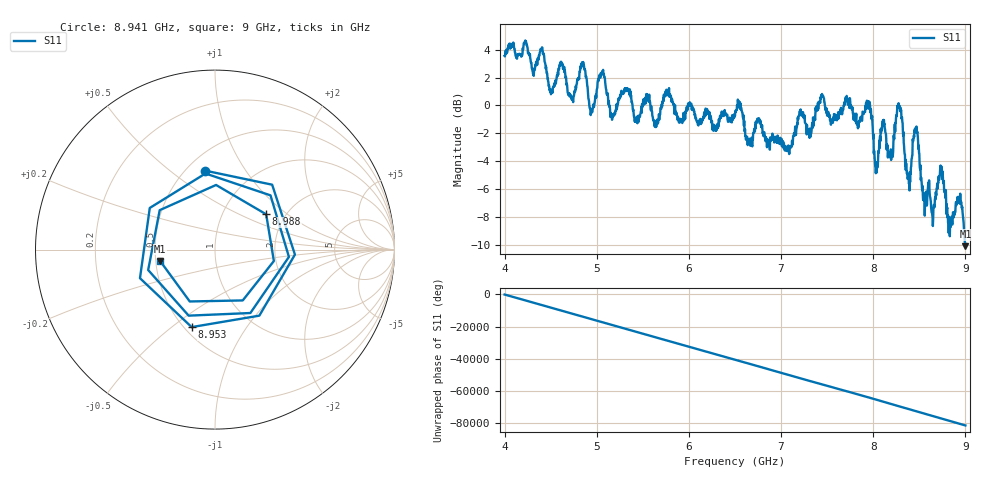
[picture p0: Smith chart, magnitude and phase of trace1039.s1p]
! Created with skrf 1.8.0 (http://scikit-rf.org).
# Hz S RI R 50.0
!freq ReS11 ImS11
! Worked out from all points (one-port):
!   1601 points, 4 GHz to 9 GHz, reference 50 ohm
!   lowest |S11| = -10.1 dB at 9 GHz (marker M1), VSWR 1.91, Z = 26.4 - j3.71 ohm
!   |S11| at or under -10 dB: 8.998683 GHz to end of sweep
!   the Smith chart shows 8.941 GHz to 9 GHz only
!   S11 on the Smith chart (normalised r, x): 8.941 GHz: 0.61, +0.67; 8.953 GHz: 0.54, -0.59; 8.988 GHz: 1.60, +0.72; 9 GHz: 0.53, -0.07
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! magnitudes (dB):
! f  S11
! 4 GHz  3.6
! 4.403 GHz  4.0
! 4.503 GHz  0.8
! 4.625 GHz  2.9
! 4.728 GHz  0.5
! 4.853 GHz  3.1
! 4.944 GHz  -0.3
! 5.05 GHz  2.3
! 5.169 GHz  -0.9
! 5.25 GHz  0.6
! 5.875 GHz  -0.8
! 6.5 GHz  -0.7
! 7.125 GHz  -2.6
! 7.75 GHz  0.3
! 7.95 GHz  0.0
! 8.031 GHz  -4.6
! 8.106 GHz  -1.3
! 8.191 GHz  -3.2
! 8.284 GHz  -0.1
! 8.375 GHz  -5.2
! 8.459 GHz  -1.9
! 8.559 GHz  -7.9
! 8.734 GHz  -4.9
! 8.834 GHz  -8.5
! 8.941 GHz  -7.1
! 8.953 GHz  -6.9
! 8.988 GHz  -9.2
! 9 GHz  -10.1
